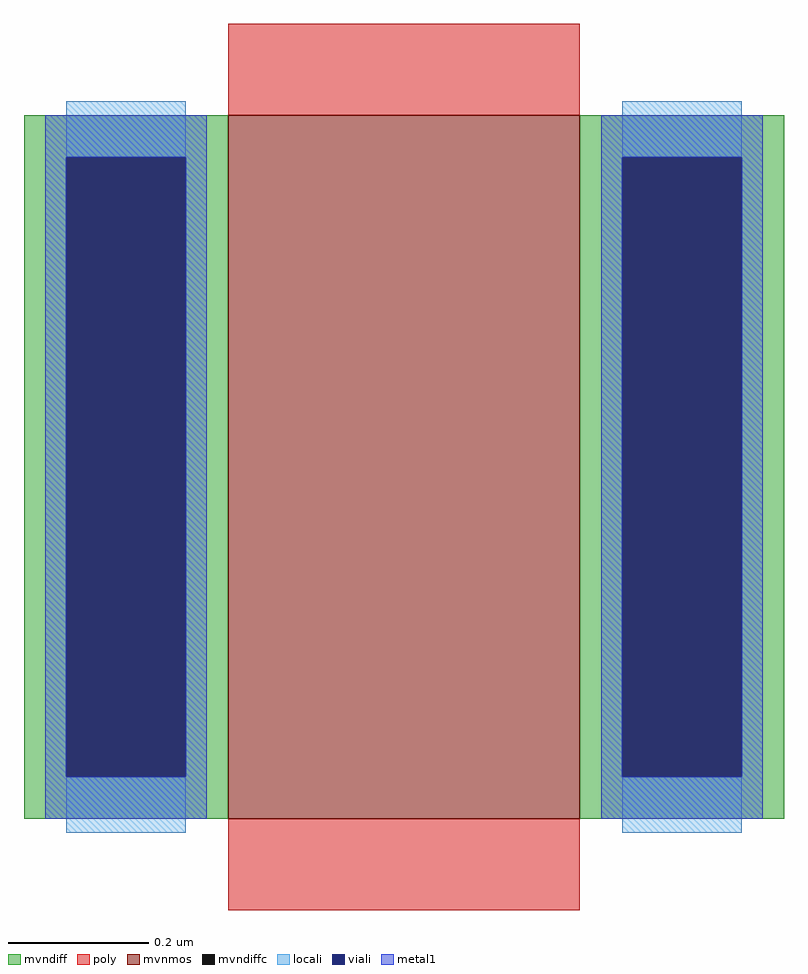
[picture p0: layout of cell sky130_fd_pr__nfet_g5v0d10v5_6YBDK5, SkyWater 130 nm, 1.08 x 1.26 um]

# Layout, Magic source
magic
tech sky130A
<< mvnmos >>
rect -25 -50 25 50
<< mvndiff >>
rect -54 44 -25 50
rect -54 -44 -48 44
rect -31 -44 -25 44
rect -54 -50 -25 -44
rect 25 44 54 50
rect 25 -44 31 44
rect 48 -44 54 44
rect 25 -50 54 -44
<< mvndiffc >>
rect -48 -44 -31 44
rect 31 -44 48 44
<< poly >>
rect -25 50 25 63
rect -25 -63 25 -50
<< locali >>
rect -48 44 -31 52
rect -48 -52 -31 -44
rect 31 44 48 52
rect 31 -52 48 -44
<< viali >>
rect -48 -44 -31 44
rect 31 -44 48 44
<< metal1 >>
rect -51 44 -28 50
rect -51 -44 -48 44
rect -31 -44 -28 44
rect -51 -50 -28 -44
rect 28 44 51 50
rect 28 -44 31 44
rect 48 -44 51 44
rect 28 -50 51 -44
<< properties >>
string gencell sky130_fd_pr__nfet_g5v0d10v5
string library sky130
string parameters w 1 l 0.5 m 1 nf 1 diffcov 100 polycov 100 guard 0 glc 1 grc 1 gtc 1 gbc 1 tbcov 100 rlcov 100 topc 0 botc 0 poverlap 0 doverlap 0 lmin 0.50 wmin 0.42 compatible {sky130_fd_pr__nfet_01v8 sky130_fd_pr__nfet_01v8_lvt  sky130_fd_bs_flash__special_sonosfet_star  sky130_fd_pr__nfet_g5v0d10v5 sky130_fd_pr__nfet_05v0_nvt  sky130_fd_pr__nfet_03v3_nvt} full_metal 1 viasrc 100 viadrn 100 viagate 100 viagb 0 viagr 0 viagl 0 viagt 0
<< end >>
